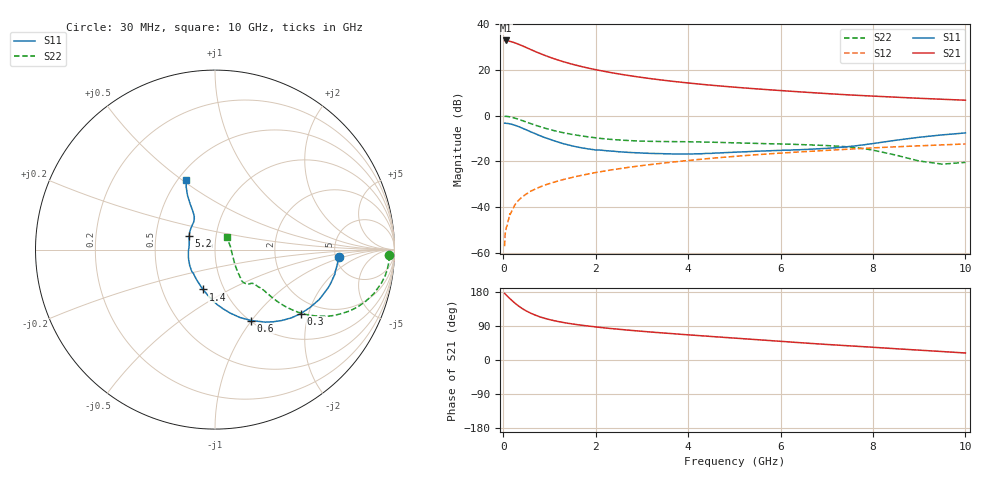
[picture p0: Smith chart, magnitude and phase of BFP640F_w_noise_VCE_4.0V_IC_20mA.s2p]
! Infineon Technologies  Discrete & RF Semiconductors
! BFP640F
! VCE =  4.0 V,  IC =  20 mA
! Common Emitter S-Parameters:  Apr 2013
# GHz  S  MA  R  50
!  f  S11  S21  S12  S22
! GHz  MAG  ANG  MAG  ANG  MAG  ANG  MAG  ANG
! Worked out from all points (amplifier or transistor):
!   99 points, 30 MHz to 10 GHz, reference 50 ohm
!   highest |S21| = 33.0 dB at 50 MHz (marker M1)
!   |S21| within 3 dB of that: start of sweep to 487 MHz
!   unconditionally stable (mu >= 1): 2.213 GHz to end of sweep
!   at 350 MHz: K = 0.39, MSG = 33.9 dB, |S12| = -36.7 dB
!   at 3.5 GHz: K = 1.05, MAG = 16.6 dB, |S12| = -20.6 dB
!   at 10 GHz: K = 1.05, MAG = 8.2 dB, |S12| = -12.3 dB
!   lowest NFmin = 0.82 dB at 450 MHz
!   S11 on the Smith chart (normalised r, x): 30 MHz: 5.31, -0.88; 300 MHz: 1.61, -1.79; 600 MHz: 1.01, -0.99; 1.4 GHz: 0.80, -0.37; 5.2 GHz: 0.74, +0.12; 10 GHz: 0.55, +0.52
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0.03  0.6904 -3.6  44.28 175.7  0.0014 46.8  0.9697 -1.9
0.05  0.6868 -6.3  44.51 173.4  0.0029 88.2  0.9718 -3.5
0.12  0.6729 -15.6  43.2 164.8  0.0054 71.5  0.9554 -9.5
0.2  0.6442 -25.5  41.16 155.7  0.0088 76.6  0.9183 -15.5
0.25  0.6206 -31.2  39.58 150.5  0.0111 74.7  0.8889 -18.8
0.3  0.5965 -36.7  37.89 145.5  0.0131 73.7  0.8578 -21.8
0.4  0.5427 -46.7  34.45 136.7  0.0164 71.7  0.7913 -26.7
0.45  0.5167 -51.1  32.74 132.9  0.0179 70.9  0.7607 -28.8
0.6  0.443 -63.1  28.05 123.2  0.0225 69.8  0.6717 -33.4
0.7  0.4027 -69.9  25.32 118.1  0.0251 68.4  0.62 -35.6
0.8  0.3644 -76.4  23.02 113.6  0.0278 68.1  0.5765 -37.1
0.9  0.3334 -82.1  21 109.9  0.0304 67.7  0.5367 -38.2
1.1  0.2835 -92.7  17.74 103.8  0.0352 67.0  0.4731 -39.5
1.4  0.2317 -106.9  14.28 96.9  0.0425 66.9  0.407 -40.0
1.7  0.1988 -120.2  11.92 91.7  0.0498 66.1  0.3613 -39.8
2.4  0.1671 -147.4  8.57 82.3  0.0668 64.5  0.3001 -41.0
3.4  0.1486 -176.0  6.112 71.9  0.0907 60.6  0.2734 -43.6
5.1  0.161 153.4  4.154 57.0  0.1315 52.8  0.2544 -48.0
5.2  0.1625 152.0  4.08 56.1  0.1339 52.3  0.2525 -48.0
6.7  0.1867 132.4  3.2 43.4  0.1681 44.4  0.2291 -49.4
8.5  0.2917 118.5  2.549 29.7  0.2095 34.7  0.1374 -36.4
10  0.4214 112.3  2.192 18.5  0.2417 26.1  0.0955 45.4
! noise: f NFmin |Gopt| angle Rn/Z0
0.45  0.82  0.01  19  0.06
0.9  0.82  0.01  55  0.06
1.5  0.85  0.01  87  0.07
1.9  0.87  0.02  120  0.07
2.4  0.9  0.03  140  0.08
3.5  0.98  0.05  171  0.09
5.5  1.16  0.18  -132  0.12
10  1.64  0.41  -89  0.39
